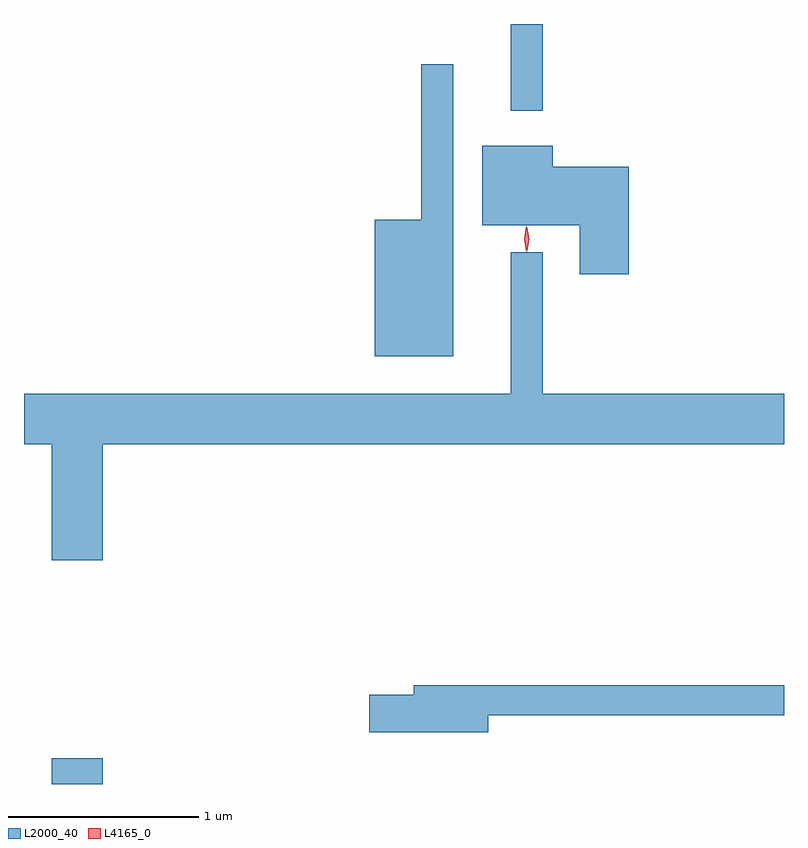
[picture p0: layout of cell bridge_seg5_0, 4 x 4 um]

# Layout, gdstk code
import gdstk
lib = gdstk.Library(unit=1e-6, precision=1e-09)
def R(c, l, rs):  # rectangles x0, y0, x1, y1
    for r in rs: c.add(gdstk.rectangle(r[:2], r[2:], *l))
def P(c, l, *ps):  # polygons
    for p in ps: c.add(gdstk.Polygon(p, *l))
L2000_40 = (2000, 40)
L4165_0 = (4165, 0)

bridge_seg5_0 = lib.new_cell('bridge_seg5_0')
R(bridge_seg5_0, L2000_40, [(1733.556,1503.849,1733.824,1503.984), (1735.971,1507.393,1736.139,1507.849)])
P(bridge_seg5_0, L2000_40, [(1735.669,1507.638),(1735.501,1507.638),(1735.501,1506.819),(1735.256,1506.819),(1735.256,1506.101),(1735.669,1506.101)],
  [(1736.594,1507.099),(1736.194,1507.099),(1736.194,1507.209),(1735.821,1507.209),(1735.821,1506.791),(1736.336,1506.791),(1736.336,1506.531),(1736.594,1506.531)],
  [(1735.971,1506.648),(1735.971,1505.904),(1733.41,1505.904),(1733.41,1505.636),(1733.556,1505.636),(1733.556,1505.026),(1733.824,1505.026),(1733.824,1505.636),(1737.41,1505.636),(1737.41,1505.904),(1736.139,1505.904),(1736.139,1506.648)],
  [(1735.854,1504.211),(1737.41,1504.211),(1737.41,1504.369),(1735.461,1504.369),(1735.461,1504.319),(1735.226,1504.319),(1735.226,1504.121),(1735.854,1504.121)])
P(bridge_seg5_0, L4165_0, [(1736.053,1506.65),(1736.044,1506.718),(1736.053,1506.786),(1736.054,1506.786),(1736.054,1506.786),(1736.064,1506.718),(1736.054,1506.65),(1736.054,1506.65)],
  [(1736.058,1506.653),(1736.058,1506.654),(1736.048,1506.716),(1736.058,1506.778),(1736.058,1506.779),(1736.058,1506.778),(1736.068,1506.716),(1736.058,1506.654)])

lib.write_gds('bridge_seg5_0.gds')
